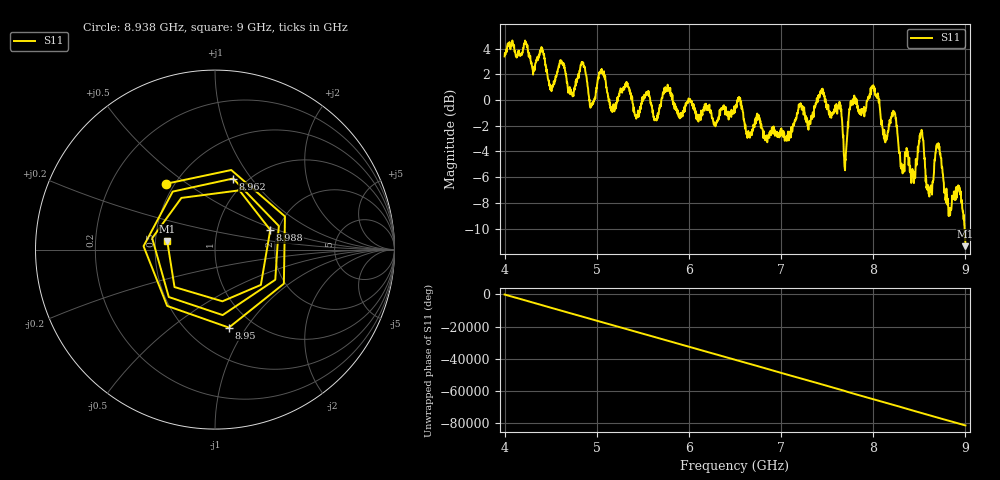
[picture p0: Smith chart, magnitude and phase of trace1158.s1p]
! Created with skrf 1.8.0 (http://scikit-rf.org).
# Hz S RI R 50.0
!freq ReS11 ImS11
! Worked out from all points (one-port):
!   1601 points, 4 GHz to 9 GHz, reference 50 ohm
!   lowest |S11| = -11.4 dB at 9 GHz (marker M1), VSWR 1.74, Z = 28.9 + j2.98 ohm
!   |S11| at or under -10 dB: 8.99157 GHz to end of sweep
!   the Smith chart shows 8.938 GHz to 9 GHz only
!   S11 on the Smith chart (normalised r, x): 8.938 GHz: 0.45, +0.42; 8.95 GHz: 0.77, -0.84; 8.962 GHz: 0.86, +0.82; 8.988 GHz: 1.82, +0.45; 9 GHz: 0.58, +0.06
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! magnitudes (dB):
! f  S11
! 4 GHz  3.4
! 4.403 GHz  4.0
! 4.506 GHz  0.8
! 4.625 GHz  2.8
! 4.725 GHz  0.5
! 4.85 GHz  2.8
! 4.944 GHz  -0.4
! 5.053 GHz  2.3
! 5.25 GHz  0.7
! 5.875 GHz  -1.1
! 6.5 GHz  -0.7
! 7.125 GHz  -2.2
! 7.447 GHz  0.7
! 7.638 GHz  -0.6
! 7.694 GHz  -5.5
! 7.75 GHz  -0.4
! 8.003 GHz  0.9
! 8.375 GHz  -4.1
! 8.434 GHz  -5.8
! 8.522 GHz  -2.5
! 8.612 GHz  -7.2
! 8.703 GHz  -3.6
! 8.825 GHz  -8.8
! 8.938 GHz  -6.8
! 8.95 GHz  -7.1
! 8.962 GHz  -7.8
! 8.988 GHz  -9.7
! 9 GHz  -11.4
